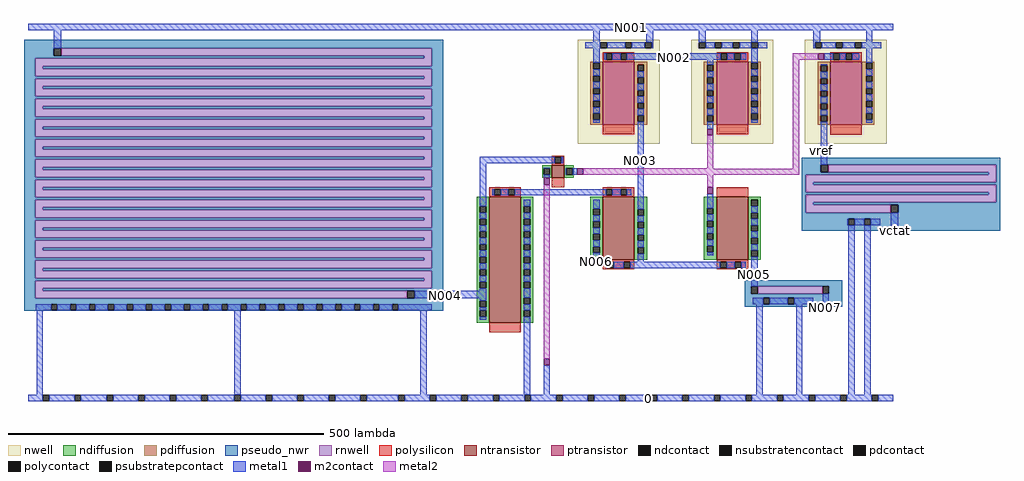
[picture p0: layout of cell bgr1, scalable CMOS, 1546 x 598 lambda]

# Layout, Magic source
magic
tech scmos
<< nwell >>
rect -140 -20 -10 145
rect 40 -20 170 145
rect 220 -20 350 145
<< ntransistor >>
rect -181 -74 -161 -54
rect -280 -304 -230 -104
rect -100 -204 -50 -104
rect 80 -204 130 -104
<< ptransistor >>
rect -100 10 -50 110
rect 80 10 130 110
rect 260 10 310 110
<< ndiffusion >>
rect -196 -59 -181 -54
rect -196 -69 -194 -59
rect -184 -69 -181 -59
rect -196 -74 -181 -69
rect -161 -59 -146 -54
rect -161 -69 -158 -59
rect -148 -69 -146 -59
rect -161 -74 -146 -69
rect -300 -119 -280 -104
rect -300 -129 -295 -119
rect -285 -129 -280 -119
rect -300 -139 -280 -129
rect -300 -149 -295 -139
rect -285 -149 -280 -139
rect -300 -159 -280 -149
rect -300 -169 -295 -159
rect -285 -169 -280 -159
rect -300 -179 -280 -169
rect -300 -189 -295 -179
rect -285 -189 -280 -179
rect -300 -199 -280 -189
rect -300 -209 -295 -199
rect -285 -209 -280 -199
rect -300 -219 -280 -209
rect -300 -229 -295 -219
rect -285 -229 -280 -219
rect -300 -239 -280 -229
rect -300 -249 -295 -239
rect -285 -249 -280 -239
rect -300 -269 -280 -249
rect -300 -279 -295 -269
rect -285 -279 -280 -269
rect -300 -284 -280 -279
rect -300 -294 -295 -284
rect -285 -294 -280 -284
rect -300 -304 -280 -294
rect -230 -119 -210 -104
rect -230 -129 -225 -119
rect -215 -129 -210 -119
rect -230 -139 -210 -129
rect -230 -149 -225 -139
rect -215 -149 -210 -139
rect -230 -159 -210 -149
rect -230 -169 -225 -159
rect -215 -169 -210 -159
rect -230 -179 -210 -169
rect -230 -189 -225 -179
rect -215 -189 -210 -179
rect -230 -199 -210 -189
rect -230 -209 -225 -199
rect -215 -209 -210 -199
rect -120 -123 -100 -104
rect -120 -133 -115 -123
rect -105 -133 -100 -123
rect -120 -143 -100 -133
rect -120 -153 -115 -143
rect -105 -153 -100 -143
rect -120 -163 -100 -153
rect -120 -173 -115 -163
rect -105 -173 -100 -163
rect -120 -183 -100 -173
rect -120 -193 -115 -183
rect -105 -193 -100 -183
rect -120 -204 -100 -193
rect -50 -124 -30 -104
rect -50 -134 -45 -124
rect -35 -134 -30 -124
rect -50 -144 -30 -134
rect -50 -154 -45 -144
rect -35 -154 -30 -144
rect -50 -164 -30 -154
rect -50 -174 -45 -164
rect -35 -174 -30 -164
rect -50 -184 -30 -174
rect -50 -194 -45 -184
rect -35 -194 -30 -184
rect -50 -204 -30 -194
rect 60 -122 80 -104
rect 60 -132 65 -122
rect 75 -132 80 -122
rect 60 -142 80 -132
rect 60 -152 65 -142
rect 75 -152 80 -142
rect 60 -162 80 -152
rect 60 -172 65 -162
rect 75 -172 80 -162
rect 60 -182 80 -172
rect 60 -192 65 -182
rect 75 -192 80 -182
rect 60 -204 80 -192
rect 130 -109 150 -104
rect 130 -119 135 -109
rect 145 -119 150 -109
rect 130 -129 150 -119
rect 130 -139 135 -129
rect 145 -139 150 -129
rect 130 -149 150 -139
rect 130 -159 135 -149
rect 145 -159 150 -149
rect 130 -169 150 -159
rect 130 -179 135 -169
rect 145 -179 150 -169
rect 130 -189 150 -179
rect 130 -199 135 -189
rect 145 -199 150 -189
rect 130 -204 150 -199
rect -230 -219 -210 -209
rect -230 -229 -225 -219
rect -215 -229 -210 -219
rect -230 -239 -210 -229
rect -230 -249 -225 -239
rect -215 -249 -210 -239
rect -230 -264 -210 -249
rect -230 -274 -225 -264
rect -215 -274 -210 -264
rect -230 -284 -210 -274
rect -230 -294 -225 -284
rect -215 -294 -210 -284
rect -230 -304 -210 -294
<< pdiffusion >>
rect -120 108 -100 110
rect -120 98 -115 108
rect -105 98 -100 108
rect -120 88 -100 98
rect -120 78 -115 88
rect -105 78 -100 88
rect -120 68 -100 78
rect -120 58 -115 68
rect -105 58 -100 68
rect -120 48 -100 58
rect -120 38 -115 48
rect -105 38 -100 48
rect -120 28 -100 38
rect -120 18 -115 28
rect -105 18 -100 28
rect -120 10 -100 18
rect -50 105 -30 110
rect -50 95 -45 105
rect -35 95 -30 105
rect -50 85 -30 95
rect -50 75 -45 85
rect -35 75 -30 85
rect -50 65 -30 75
rect -50 55 -45 65
rect -35 55 -30 65
rect -50 45 -30 55
rect -50 35 -45 45
rect -35 35 -30 45
rect -50 25 -30 35
rect -50 15 -45 25
rect -35 15 -30 25
rect -50 10 -30 15
rect 60 105 80 110
rect 60 95 65 105
rect 75 95 80 105
rect 60 85 80 95
rect 60 75 65 85
rect 75 75 80 85
rect 60 65 80 75
rect 60 55 65 65
rect 75 55 80 65
rect 60 45 80 55
rect 60 35 65 45
rect 75 35 80 45
rect 60 25 80 35
rect 60 15 65 25
rect 75 15 80 25
rect 60 10 80 15
rect 130 108 150 110
rect 130 98 135 108
rect 145 98 150 108
rect 130 88 150 98
rect 130 78 135 88
rect 145 78 150 88
rect 130 68 150 78
rect 130 58 135 68
rect 145 58 150 68
rect 130 48 150 58
rect 130 38 135 48
rect 145 38 150 48
rect 130 28 150 38
rect 130 18 135 28
rect 145 18 150 28
rect 130 10 150 18
rect 240 104 260 110
rect 240 94 245 104
rect 255 94 260 104
rect 240 84 260 94
rect 240 74 245 84
rect 255 74 260 84
rect 240 64 260 74
rect 240 54 245 64
rect 255 54 260 64
rect 240 44 260 54
rect 240 34 245 44
rect 255 34 260 44
rect 240 25 260 34
rect 240 15 245 25
rect 255 15 260 25
rect 240 10 260 15
rect 310 108 330 110
rect 310 98 317 108
rect 327 98 330 108
rect 310 88 330 98
rect 310 78 317 88
rect 327 78 330 88
rect 310 68 330 78
rect 310 58 317 68
rect 327 58 330 68
rect 310 48 330 58
rect 310 38 317 48
rect 327 38 330 48
rect 310 28 330 38
rect 310 18 317 28
rect 327 18 330 28
rect 310 10 330 18
<< ndcontact >>
rect -194 -69 -184 -59
rect -158 -69 -148 -59
rect -295 -129 -285 -119
rect -295 -149 -285 -139
rect -295 -169 -285 -159
rect -295 -189 -285 -179
rect -295 -209 -285 -199
rect -295 -229 -285 -219
rect -295 -249 -285 -239
rect -295 -279 -285 -269
rect -295 -294 -285 -284
rect -225 -129 -215 -119
rect -225 -149 -215 -139
rect -225 -169 -215 -159
rect -225 -189 -215 -179
rect -225 -209 -215 -199
rect -115 -133 -105 -123
rect -115 -153 -105 -143
rect -115 -173 -105 -163
rect -115 -193 -105 -183
rect -45 -134 -35 -124
rect -45 -154 -35 -144
rect -45 -174 -35 -164
rect -45 -194 -35 -184
rect 65 -132 75 -122
rect 65 -152 75 -142
rect 65 -172 75 -162
rect 65 -192 75 -182
rect 135 -119 145 -109
rect 135 -139 145 -129
rect 135 -159 145 -149
rect 135 -179 145 -169
rect 135 -199 145 -189
rect -225 -229 -215 -219
rect -225 -249 -215 -239
rect -225 -274 -215 -264
rect -225 -294 -215 -284
<< pdcontact >>
rect -115 98 -105 108
rect -115 78 -105 88
rect -115 58 -105 68
rect -115 38 -105 48
rect -115 18 -105 28
rect -45 95 -35 105
rect -45 75 -35 85
rect -45 55 -35 65
rect -45 35 -35 45
rect -45 15 -35 25
rect 65 95 75 105
rect 65 75 75 85
rect 65 55 75 65
rect 65 35 75 45
rect 65 15 75 25
rect 135 98 145 108
rect 135 78 145 88
rect 135 58 145 68
rect 135 38 145 48
rect 135 18 145 28
rect 245 94 255 104
rect 245 74 255 84
rect 245 54 255 64
rect 245 34 255 44
rect 245 15 255 25
rect 317 98 327 108
rect 317 78 327 88
rect 317 58 327 68
rect 317 38 327 48
rect 317 18 327 28
<< psubstratepcontact >>
rect -987 -428 -977 -418
rect -937 -428 -927 -418
rect -886 -428 -876 -418
rect -836 -428 -826 -418
rect -786 -428 -776 -418
rect -736 -428 -726 -418
rect -684 -428 -674 -418
rect -634 -428 -624 -418
rect -584 -428 -574 -418
rect -534 -428 -524 -418
rect -484 -428 -474 -418
rect -424 -428 -414 -418
rect -374 -428 -364 -418
rect -324 -428 -314 -418
rect -274 -428 -264 -418
rect -224 -428 -214 -418
rect -174 -428 -164 -418
rect -124 -428 -114 -418
rect -74 -428 -64 -418
rect -24 -428 -14 -418
rect 26 -428 36 -418
rect 76 -428 86 -418
rect 126 -428 136 -418
rect 176 -428 186 -418
rect 226 -428 236 -418
rect 276 -428 286 -418
rect 326 -428 336 -418
<< nsubstratencontact >>
rect -104 131 -93 141
rect -65 131 -54 141
rect -34 131 -23 141
rect 52 131 63 141
rect 77 131 88 141
rect 106 131 117 141
rect 135 131 146 141
rect 236 131 247 141
rect 269 131 280 141
rect 299 131 310 141
rect -970 119 -958 131
rect 245 -65 257 -53
rect -410 -265 -398 -253
rect -974 -284 -964 -274
rect -944 -284 -934 -274
rect -914 -284 -904 -274
rect -884 -284 -874 -274
rect -854 -284 -844 -274
rect -824 -284 -814 -274
rect -794 -284 -784 -274
rect -764 -284 -754 -274
rect -734 -284 -724 -274
rect -704 -284 -694 -274
rect -674 -284 -664 -274
rect -644 -284 -634 -274
rect -614 -284 -604 -274
rect -584 -284 -574 -274
rect -554 -284 -544 -274
rect -524 -284 -514 -274
rect -494 -284 -484 -274
rect -464 -284 -454 -274
rect -434 -284 -424 -274
rect 356 -129 368 -117
rect 289 -149 299 -139
rect 314 -149 324 -139
rect 135 -258 145 -246
rect 248 -258 258 -246
rect 154 -274 164 -264
rect 193 -274 203 -264
<< polysilicon >>
rect -100 123 -50 125
rect -100 113 -95 123
rect -85 113 -72 123
rect -62 113 -50 123
rect -100 110 -50 113
rect 80 123 130 125
rect 80 113 87 123
rect 97 113 108 123
rect 118 113 130 123
rect 80 110 130 113
rect 260 123 310 125
rect 260 113 265 123
rect 275 113 285 123
rect 295 113 310 123
rect 260 110 310 113
rect -100 -5 -50 10
rect 80 -5 130 10
rect 260 -6 310 10
rect -181 -41 -161 -39
rect -181 -51 -176 -41
rect -166 -51 -161 -41
rect -181 -54 -161 -51
rect -181 -89 -161 -74
rect -280 -92 -230 -89
rect -280 -102 -272 -92
rect -262 -102 -250 -92
rect -240 -102 -230 -92
rect -280 -104 -230 -102
rect -100 -92 -50 -89
rect -100 -102 -95 -92
rect -85 -102 -72 -92
rect -62 -102 -50 -92
rect -100 -104 -50 -102
rect 80 -104 130 -89
rect -100 -207 -50 -204
rect -100 -217 -93 -207
rect -83 -217 -67 -207
rect -57 -217 -50 -207
rect -100 -219 -50 -217
rect 80 -207 130 -204
rect 80 -217 86 -207
rect 96 -217 109 -207
rect 119 -217 130 -207
rect 80 -219 130 -217
rect -280 -319 -230 -304
<< polycontact >>
rect -95 113 -85 123
rect -72 113 -62 123
rect 87 113 97 123
rect 108 113 118 123
rect 265 113 275 123
rect 285 113 295 123
rect -176 -51 -166 -41
rect -272 -102 -262 -92
rect -250 -102 -240 -92
rect -95 -102 -85 -92
rect -72 -102 -62 -92
rect -93 -217 -83 -207
rect -67 -217 -57 -207
rect 86 -217 96 -207
rect 109 -217 119 -207
<< metal1 >>
rect -1010 160 360 170
rect -970 131 -958 160
rect -115 141 -105 160
rect -31 141 -20 160
rect -128 131 -104 141
rect -93 131 -65 141
rect -54 131 -34 141
rect -23 131 -20 141
rect 52 141 63 160
rect 135 141 145 160
rect 233 141 244 160
rect 317 141 327 160
rect 63 131 77 141
rect 88 131 106 141
rect 117 131 135 141
rect 146 131 160 141
rect 233 131 236 141
rect 247 131 269 141
rect 280 131 299 141
rect 310 131 341 141
rect -115 108 -105 131
rect -98 113 -95 123
rect -85 113 -72 123
rect -62 113 87 123
rect 97 113 108 123
rect 118 113 127 123
rect 65 105 75 113
rect -115 88 -105 98
rect -115 68 -105 78
rect -115 48 -105 58
rect -115 28 -105 38
rect -115 13 -105 18
rect -45 85 -35 95
rect -45 65 -35 75
rect -45 45 -35 55
rect -45 25 -35 35
rect -295 -51 -176 -41
rect -166 -51 -163 -41
rect -295 -119 -285 -51
rect -194 -59 -184 -58
rect -159 -69 -158 -59
rect -148 -69 -141 -59
rect -194 -74 -184 -69
rect -275 -102 -272 -92
rect -262 -102 -250 -92
rect -240 -102 -95 -92
rect -85 -102 -72 -92
rect -62 -102 -55 -92
rect -295 -139 -285 -129
rect -295 -159 -285 -149
rect -295 -179 -285 -169
rect -295 -199 -285 -189
rect -295 -219 -285 -209
rect -295 -239 -285 -229
rect -295 -253 -285 -249
rect -398 -265 -285 -253
rect -295 -269 -285 -265
rect -998 -284 -974 -274
rect -964 -284 -944 -274
rect -934 -284 -914 -274
rect -904 -284 -884 -274
rect -874 -284 -854 -274
rect -844 -284 -824 -274
rect -814 -284 -794 -274
rect -784 -284 -764 -274
rect -754 -284 -734 -274
rect -724 -284 -704 -274
rect -694 -284 -674 -274
rect -664 -284 -644 -274
rect -634 -284 -614 -274
rect -604 -284 -584 -274
rect -574 -284 -554 -274
rect -544 -284 -524 -274
rect -514 -284 -494 -274
rect -484 -284 -464 -274
rect -454 -284 -434 -274
rect -424 -284 -371 -274
rect -295 -284 -285 -279
rect -997 -418 -987 -284
rect -684 -418 -674 -284
rect -389 -418 -379 -284
rect -295 -299 -285 -294
rect -225 -119 -215 -109
rect -225 -139 -215 -129
rect -225 -159 -215 -149
rect -225 -179 -215 -169
rect -225 -199 -215 -189
rect -225 -219 -215 -209
rect -115 -123 -105 -109
rect -115 -143 -105 -133
rect -115 -163 -105 -153
rect -115 -183 -105 -173
rect -115 -211 -105 -193
rect -45 -124 -35 15
rect 65 85 75 95
rect 65 65 75 75
rect 65 45 75 55
rect 65 25 75 35
rect 65 3 75 15
rect 135 108 145 131
rect 251 113 265 123
rect 275 113 285 123
rect 295 113 306 123
rect 317 108 327 131
rect 135 88 145 98
rect 135 68 145 78
rect 135 48 145 58
rect 135 28 145 38
rect 135 13 145 18
rect 245 104 255 106
rect 245 84 255 94
rect 245 64 255 74
rect 245 44 255 54
rect 245 25 255 34
rect 245 -53 255 15
rect 317 88 327 98
rect 317 68 327 78
rect 317 48 327 58
rect 317 28 327 38
rect 317 13 327 18
rect -45 -144 -35 -134
rect -45 -164 -35 -154
rect -45 -184 -35 -174
rect -45 -207 -35 -194
rect 65 -122 75 -99
rect 65 -142 75 -132
rect 65 -162 75 -152
rect 65 -182 75 -172
rect 65 -197 75 -192
rect 135 -129 145 -119
rect 135 -149 145 -139
rect 287 -149 289 -139
rect 299 -149 314 -139
rect 324 -149 339 -139
rect 135 -169 145 -159
rect 135 -189 145 -179
rect -95 -217 -93 -207
rect -83 -217 -67 -207
rect -57 -217 86 -207
rect 96 -217 109 -207
rect 119 -217 126 -207
rect -225 -239 -215 -229
rect -225 -264 -215 -249
rect 135 -246 145 -199
rect 137 -274 154 -264
rect 164 -274 193 -264
rect 203 -274 233 -264
rect -225 -284 -215 -274
rect -225 -418 -215 -294
rect -194 -418 -184 -371
rect 143 -418 153 -274
rect 206 -418 216 -274
rect 248 -282 258 -258
rect 289 -418 299 -149
rect 314 -418 324 -149
rect 356 -166 368 -129
rect -1010 -428 -987 -418
rect -977 -428 -937 -418
rect -927 -428 -886 -418
rect -876 -428 -836 -418
rect -826 -428 -786 -418
rect -776 -428 -736 -418
rect -726 -428 -684 -418
rect -674 -428 -634 -418
rect -624 -428 -584 -418
rect -574 -428 -534 -418
rect -524 -428 -484 -418
rect -474 -428 -424 -418
rect -414 -428 -374 -418
rect -364 -428 -324 -418
rect -314 -428 -274 -418
rect -264 -428 -224 -418
rect -214 -428 -174 -418
rect -164 -428 -124 -418
rect -114 -428 -74 -418
rect -64 -428 -24 -418
rect -14 -428 26 -418
rect 36 -428 76 -418
rect 86 -428 126 -418
rect 136 -428 176 -418
rect 186 -428 226 -418
rect 236 -428 276 -418
rect 286 -428 326 -418
rect 336 -428 360 -418
<< m2contact >>
rect -141 -69 -131 -59
rect -194 -85 -184 -74
rect 241 113 251 123
rect 65 -7 75 3
rect 65 -99 75 -89
rect -194 -371 -184 -361
<< metal2 >>
rect 201 113 241 123
rect 65 -59 75 -7
rect -131 -60 75 -59
rect 201 -60 211 113
rect -131 -69 211 -60
rect -194 -361 -184 -85
rect 65 -89 75 -69
<< rnwell >>
rect -958 119 -371 131
rect -383 115 -371 119
rect -999 103 -371 115
rect -999 99 -987 103
rect -999 87 -371 99
rect -383 83 -371 87
rect -999 71 -371 83
rect -999 67 -987 71
rect -999 55 -371 67
rect -383 51 -371 55
rect -999 39 -371 51
rect -999 35 -987 39
rect -999 23 -371 35
rect -383 19 -371 23
rect -999 7 -371 19
rect -999 3 -987 7
rect -999 -9 -371 3
rect -383 -13 -371 -9
rect -999 -25 -371 -13
rect -999 -29 -987 -25
rect -999 -41 -371 -29
rect -383 -45 -371 -41
rect -999 -57 -371 -45
rect -999 -61 -987 -57
rect -999 -73 -371 -61
rect -383 -77 -371 -73
rect -999 -89 -371 -77
rect 257 -65 523 -53
rect 511 -69 523 -65
rect -999 -93 -987 -89
rect -999 -105 -371 -93
rect -383 -109 -371 -105
rect -999 -121 -371 -109
rect 221 -81 523 -69
rect 221 -85 233 -81
rect 221 -97 523 -85
rect 511 -101 523 -97
rect -999 -125 -987 -121
rect -999 -137 -371 -125
rect -383 -141 -371 -137
rect -999 -153 -371 -141
rect -999 -157 -987 -153
rect -999 -169 -371 -157
rect -383 -173 -371 -169
rect -999 -185 -371 -173
rect -999 -189 -987 -185
rect -999 -201 -371 -189
rect -383 -205 -371 -201
rect -999 -217 -371 -205
rect -999 -221 -987 -217
rect -999 -233 -371 -221
rect -383 -237 -371 -233
rect -999 -249 -371 -237
rect -999 -253 -987 -249
rect -999 -265 -410 -253
rect 221 -113 523 -101
rect 221 -117 233 -113
rect 221 -129 356 -117
rect 145 -258 248 -246
<< pseudo_nwr >>
rect -1017 131 -353 145
rect -1017 119 -970 131
rect -1017 115 -383 119
rect -1017 87 -999 115
rect -371 103 -353 131
rect -987 99 -353 103
rect -1017 83 -383 87
rect -1017 55 -999 83
rect -371 71 -353 99
rect -987 67 -353 71
rect -1017 51 -383 55
rect -1017 23 -999 51
rect -371 39 -353 67
rect -987 35 -353 39
rect -1017 19 -383 23
rect -1017 -9 -999 19
rect -371 7 -353 35
rect -987 3 -353 7
rect -1017 -13 -383 -9
rect -1017 -41 -999 -13
rect -371 -25 -353 3
rect -987 -29 -353 -25
rect -1017 -45 -383 -41
rect -1017 -73 -999 -45
rect -371 -57 -353 -29
rect 215 -53 529 -42
rect -987 -61 -353 -57
rect -1017 -77 -383 -73
rect -1017 -105 -999 -77
rect -371 -89 -353 -61
rect 215 -65 245 -53
rect 215 -69 511 -65
rect -987 -93 -353 -89
rect -1017 -109 -383 -105
rect -1017 -137 -999 -109
rect -371 -121 -353 -93
rect 215 -97 221 -69
rect 523 -81 529 -53
rect 233 -85 529 -81
rect 215 -101 511 -97
rect -987 -125 -353 -121
rect -1017 -141 -383 -137
rect -1017 -169 -999 -141
rect -371 -153 -353 -125
rect -987 -157 -353 -153
rect -1017 -173 -383 -169
rect -1017 -201 -999 -173
rect -371 -185 -353 -157
rect -987 -189 -353 -185
rect -1017 -205 -383 -201
rect -1017 -233 -999 -205
rect -371 -217 -353 -189
rect -987 -221 -353 -217
rect -1017 -237 -383 -233
rect -1017 -265 -999 -237
rect -371 -249 -353 -221
rect -987 -253 -353 -249
rect -398 -265 -353 -253
rect -1017 -274 -353 -265
rect -1017 -284 -974 -274
rect -964 -284 -944 -274
rect -934 -284 -914 -274
rect -904 -284 -884 -274
rect -874 -284 -854 -274
rect -844 -284 -824 -274
rect -814 -284 -794 -274
rect -784 -284 -764 -274
rect -754 -284 -734 -274
rect -724 -284 -704 -274
rect -694 -284 -674 -274
rect -664 -284 -644 -274
rect -634 -284 -614 -274
rect -604 -284 -584 -274
rect -574 -284 -554 -274
rect -544 -284 -524 -274
rect -514 -284 -494 -274
rect -484 -284 -464 -274
rect -454 -284 -434 -274
rect -424 -284 -353 -274
rect -1017 -285 -353 -284
rect 215 -129 221 -101
rect 523 -113 529 -85
rect 233 -117 529 -113
rect 368 -129 529 -117
rect 215 -139 529 -129
rect 215 -149 289 -139
rect 299 -149 314 -139
rect 324 -149 529 -139
rect 215 -158 529 -149
rect 125 -246 279 -236
rect 125 -258 135 -246
rect 258 -258 279 -246
rect 125 -264 279 -258
rect 125 -274 154 -264
rect 164 -274 193 -264
rect 203 -274 279 -264
rect 125 -278 279 -274
<< labels >>
rlabel metal1 13 117 13 117 1 N002
rlabel metal1 -41 -47 -41 -47 1 N003
rlabel metal1 -350 -261 -350 -261 1 N004
rlabel metal1 140 -227 140 -227 1 N005
rlabel metal1 -110 -206 -110 -206 1 N006
rlabel metal1 247 -31 247 -31 1 vref
rlabel metal1 364 -157 364 -157 1 vctat
rlabel metal1 -27 -423 -27 -423 1 0
rlabel metal1 -55 164 -55 164 1 N001
rlabel metal1 253 -279 253 -279 1 N007
<< end >>
